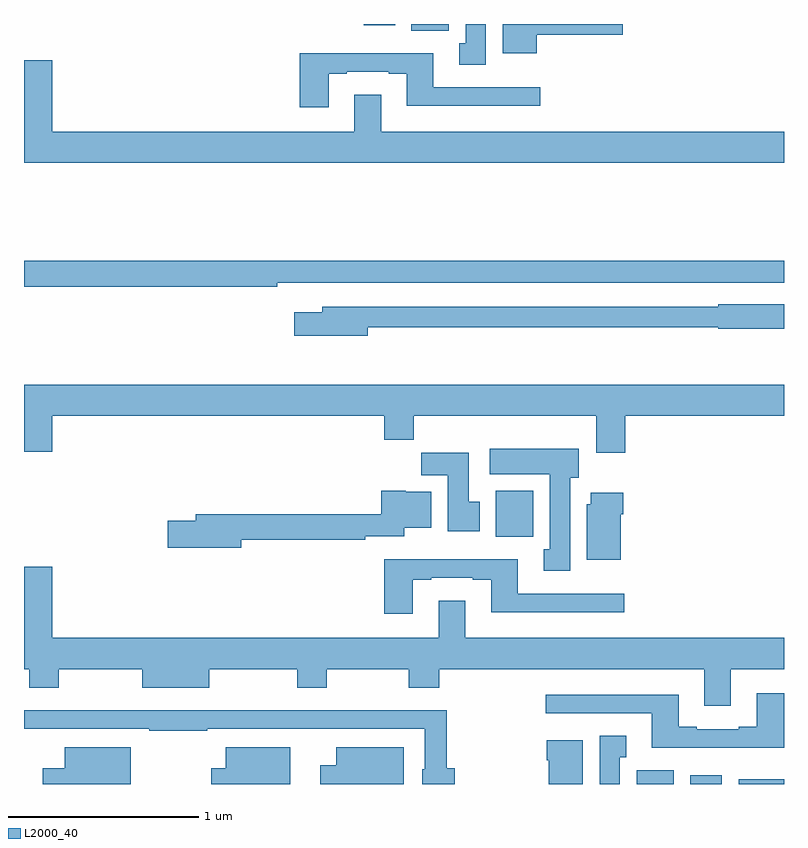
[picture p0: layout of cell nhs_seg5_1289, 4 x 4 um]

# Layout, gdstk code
import gdstk
lib = gdstk.Library(unit=1e-6, precision=1e-09)
def R(c, l, rs):  # rectangles x0, y0, x1, y1
    for r in rs: c.add(gdstk.rectangle(r[:2], r[2:], *l))
def P(c, l, *ps):  # polygons
    for p in ps: c.add(gdstk.Polygon(p, *l))
L2000_40 = (2000, 40)

nhs_seg5_1289 = lib.new_cell('nhs_seg5_1289')
R(nhs_seg5_1289, L2000_40, [(192.224,878.799,192.421,878.872), (192.506,878.799,192.673,878.845), (192.761,878.799,193,878.824), (191.483,880.1,191.68,880.342), (191.039,882.764,191.236,882.799), (190.787,882.792,190.954,882.799)])
P(nhs_seg5_1289, L2000_40, [(191.431,882.799),(191.324,882.799),(191.324,882.698),(191.291,882.698),(191.291,882.585),(191.431,882.585)],
  [(191.698,882.743),(192.151,882.743),(192.151,882.799),(191.519,882.799),(191.519,882.644),(191.698,882.644)],
  [(190.603,882.537),(190.699,882.537),(190.699,882.549),(190.919,882.549),(190.919,882.537),(191.015,882.537),(191.015,882.368),(191.716,882.368),(191.716,882.465),(191.155,882.465),(191.155,882.646),(190.451,882.646),(190.451,882.36),(190.603,882.36)],
  [(193,882.232),(190.879,882.232),(190.879,882.427),(190.739,882.427),(190.739,882.232),(189.148,882.232),(189.148,882.607),(189,882.607),(189,882.068),(193,882.068)],
  [(190.334,881.436),(193,881.436),(193,881.552),(189,881.552),(189,881.416),(190.334,881.416)],
  [(190.81,881.202),(192.654,881.202),(192.654,881.194),(193,881.194),(193,881.323),(192.654,881.323),(192.654,881.31),(190.571,881.31),(190.571,881.281),(190.422,881.281),(190.422,881.159),(190.81,881.159)],
  [(192.164,880.736),(193,880.736),(193,880.9),(189,880.9),(189,880.548),(189.148,880.548),(189.148,880.736),(190.895,880.736),(190.895,880.612),(191.051,880.612),(191.051,880.736),(192.011,880.736),(192.011,880.542),(192.164,880.542)],
  [(191.875,880.41),(191.92,880.41),(191.92,880.564),(191.451,880.564),(191.451,880.43),(191.768,880.43),(191.768,880.034),(191.735,880.034),(191.735,879.921),(191.875,879.921)],
  [(191.398,880.284),(191.341,880.284),(191.341,880.543),(191.092,880.543),(191.092,880.424),(191.231,880.424),(191.231,880.128),(191.398,880.128)],
  [(190.144,880.084),(190.796,880.084),(190.796,880.104),(191.002,880.104),(191.002,880.148),(191.143,880.148),(191.143,880.336),(191.01,880.336),(191.01,880.342),(190.88,880.342),(190.88,880.22),(189.905,880.22),(189.905,880.184),(189.756,880.184),(189.756,880.042),(190.144,880.042)],
  [(192.142,880.22),(192.155,880.22),(192.155,880.333),(191.984,880.333),(191.984,880.272),(191.963,880.272),(191.963,879.98),(192.142,879.98)],
  [(191.047,879.873),(191.143,879.873),(191.143,879.885),(191.363,879.885),(191.363,879.873),(191.459,879.873),(191.459,879.704),(192.16,879.704),(192.16,879.801),(191.599,879.801),(191.599,879.982),(190.895,879.982),(190.895,879.696),(191.047,879.696)],
  [(192.721,879.404),(193,879.404),(193,879.568),(191.323,879.568),(191.323,879.763),(191.183,879.763),(191.183,879.568),(189.148,879.568),(189.148,879.943),(189,879.943),(189,879.404),(189.028,879.404),(189.028,879.305),(189.183,879.305),(189.183,879.404),(189.623,879.404),(189.623,879.305),(189.976,879.305),(189.976,879.404),(190.438,879.404),(190.438,879.305),(190.593,879.305),(190.593,879.404),(191.026,879.404),(191.026,879.305),(191.186,879.305),(191.186,879.404),(192.581,879.404),(192.581,879.21),(192.721,879.21)],
  [(193,879.277),(192.857,879.277),(192.857,879.1),(192.761,879.1),(192.761,879.087),(192.541,879.087),(192.541,879.1),(192.445,879.1),(192.445,879.268),(191.745,879.268),(191.745,879.171),(192.305,879.171),(192.305,878.99),(193,878.99)],
  [(191.267,878.881),(191.225,878.881),(191.225,879.186),(190.937,879.186),(190.937,879.188),(190.681,879.188),(190.681,879.186),(190.349,879.186),(190.349,879.188),(190.072,879.188),(190.072,879.186),(189.527,879.186),(189.527,879.188),(189.271,879.188),(189.271,879.186),(189,879.186),(189,879.09),(189.658,879.09),(189.658,879.078),(189.965,879.078),(189.965,879.09),(191.109,879.09),(191.109,878.877),(191.096,878.877),(191.096,878.799),(191.267,878.799)],
  [(192.136,878.939),(192.169,878.939),(192.169,879.052),(192.029,879.052),(192.029,878.799),(192.136,878.799)],
  [(191.941,879.028),(191.75,879.028),(191.75,878.924),(191.762,878.924),(191.762,878.799),(191.941,878.799)],
  [(189.562,878.992),(189.215,878.992),(189.215,878.881),(189.098,878.881),(189.098,878.799),(189.562,878.799)],
  [(190.402,878.992),(190.061,878.992),(190.061,878.881),(189.986,878.881),(189.986,878.799),(190.402,878.799)],
  [(190.999,878.992),(190.643,878.992),(190.643,878.899),(190.559,878.899),(190.559,878.799),(190.999,878.799)])

lib.write_gds('nhs_seg5_1289.gds')
